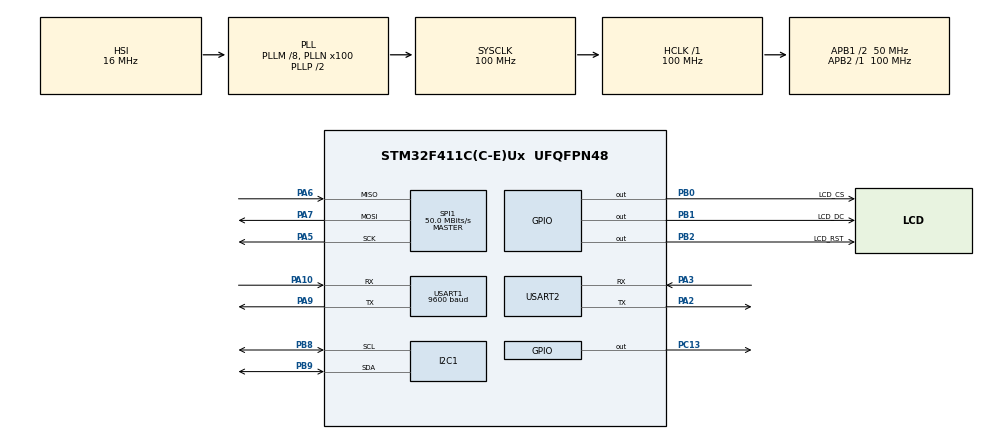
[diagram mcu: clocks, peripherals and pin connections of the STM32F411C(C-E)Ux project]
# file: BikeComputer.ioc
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Mcu.Family=STM32F4
Mcu.Name=STM32F411C(C-E)Ux
Mcu.Package=UFQFPN48
NVIC.PriorityGroup=NVIC_PRIORITYGROUP_4
NVIC.USART1_IRQn=true\:0\:0\:false\:false\:true\:true\:true\:true
PA10.Mode=Asynchronous
PA10.Signal=USART1_RX
PA13.Mode=Serial_Wire
PA13.Signal=SYS_JTMS-SWDIO
PA14.Mode=Serial_Wire
PA14.Signal=SYS_JTCK-SWCLK
PA2.Mode=Asynchronous
PA2.Signal=USART2_TX
PA3.Mode=Asynchronous
PA3.Signal=USART2_RX
PA5.Mode=Full_Duplex_Master
PA5.Signal=SPI1_SCK
PA6.Mode=Full_Duplex_Master
PA6.Signal=SPI1_MISO
PA7.Mode=Full_Duplex_Master
PA7.Signal=SPI1_MOSI
PA9.Mode=Asynchronous
PA9.Signal=USART1_TX
PB0.GPIO_Label=LCD_CS
PB0.Signal=GPIO_Output
PB1.GPIO_Label=LCD_DC
PB1.Signal=GPIO_Output
PB2.GPIO_Label=LCD_RST
PB2.Signal=GPIO_Output
PB8.Mode=I2C
PB8.Signal=I2C1_SCL
PB9.Mode=I2C
PB9.Signal=I2C1_SDA
PC13-ANTI_TAMP.Signal=GPIO_Output
ProjectManager.HeapSize=0x200
ProjectManager.StackSize=0x400
ProjectManager.TargetToolchain=STM32CubeIDE
RCC.48MHZClocksFreq_Value=50000000
RCC.AHBFreq_Value=100000000
RCC.APB1CLKDivider=RCC_HCLK_DIV2
RCC.APB1Freq_Value=50000000
RCC.APB1TimFreq_Value=100000000
RCC.APB2Freq_Value=100000000
RCC.APB2TimFreq_Value=100000000
RCC.CortexFreq_Value=100000000
RCC.HCLKFreq_Value=100000000
RCC.HSE_VALUE=25000000
RCC.HSI_VALUE=16000000
RCC.LSE_VALUE=32768
RCC.PLLM=8
RCC.PLLN=100
RCC.SYSCLKFreq_VALUE=100000000
RCC.SYSCLKSource=RCC_SYSCLKSOURCE_PLLCLK
RCC.VCOOutputFreq_Value=200000000
SPI1.CalculateBaudRate=50.0 MBits/s
SPI1.Direction=SPI_DIRECTION_2LINES
SPI1.Mode=SPI_MODE_MASTER
SPI1.VirtualType=VM_MASTER
USART1.BaudRate=9600
USART1.VirtualMode=VM_ASYNC
USART2.VirtualMode=VM_ASYNC
board=custom

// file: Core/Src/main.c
/* USER CODE BEGIN Header */
/**
  ******************************************************************************
  * @file           : main.c
  * @brief          : Main program body
  ******************************************************************************
  * @attention
  *
  * Copyright (c) 2026 STMicroelectronics.
  * All rights reserved.
  *
  * This software is licensed under terms that can be found in the LICENSE file
  * in the root directory of this software component.
  * If no LICENSE file comes with this software, it is provided AS-IS.
  *
  ******************************************************************************
  */
/* USER CODE END Header */
#include "main.h"

/* USER CODE BEGIN Includes */
#include "bike_data.h"
#include "bmp280.h"
#include "button.h"
#include "gps.h"
#include "ili9341.h"
#include "mpu6050.h"
#include "ride_stats.h"
#include "ui.h"

/* USER CODE END Includes */

/* USER CODE BEGIN PD */
#define NRF_UART_PERIOD_MS      1000U
#define NRF_UART_TX_TIMEOUT_MS  20U
#define NRF_UART_BUFFER_SIZE    128U

/* USER CODE END PD */

I2C_HandleTypeDef hi2c1;

SPI_HandleTypeDef hspi1;

UART_HandleTypeDef huart1;
UART_HandleTypeDef huart2;

/* USER CODE BEGIN PV */
static uint32_t nrf_uart_last_tx_ms = 0U;

/* USER CODE END PV */

void SystemClock_Config(void);
static void MX_GPIO_Init(void);
static void MX_I2C1_Init(void);
static void MX_SPI1_Init(void);
static void MX_USART1_UART_Init(void);
static void MX_USART2_UART_Init(void);
/* USER CODE BEGIN PFP */
static void NRF_UART_SendStartupMessage(void);
static void NRF_UART_Update(void);

/* USER CODE END PFP */

/* USER CODE BEGIN 0 */
static void NRF_UART_AppendChar(char *buffer, uint16_t buffer_size, uint16_t *index, char value)
{
  if (*index < (uint16_t)(buffer_size - 1U))
  {
    buffer[*index] = value;
    (*index)++;
    buffer[*index] = '\0';
  }
}

static void NRF_UART_AppendText(char *buffer, uint16_t buffer_size, uint16_t *index, const char *text)
{
  while (*text != '\0')
  {
    NRF_UART_AppendChar(buffer, buffer_size, index, *text);
    text++;
  }
}

static void NRF_UART_AppendUnsigned(char *buffer, uint16_t buffer_size, uint16_t *index, uint32_t value)
{
  char digits[10];
  uint8_t digit_count = 0U;

  if (value == 0U)
  {
    NRF_UART_AppendChar(buffer, buffer_size, index, '0');
    return;
  }

  while ((value > 0U) && (digit_count < sizeof(digits)))
  {
    digits[digit_count] = (char)('0' + (value % 10U));
    value /= 10U;
    digit_count++;
  }

  while (digit_count > 0U)
  {
    digit_count--;
    NRF_UART_AppendChar(buffer, buffer_size, index, digits[digit_count]);
  }
}

static void NRF_UART_AppendFloat1(char *buffer, uint16_t buffer_size, uint16_t *index, float value)
{
  uint32_t scaled;

  if (value < 0.0f)
  {
    NRF_UART_AppendChar(buffer, buffer_size, index, '-');
    value = -value;
  }

  scaled = (uint32_t)((value * 10.0f) + 0.5f);
  NRF_UART_AppendUnsigned(buffer, buffer_size, index, scaled / 10U);
  NRF_UART_AppendChar(buffer, buffer_size, index, '.');
  NRF_UART_AppendUnsigned(buffer, buffer_size, index, scaled % 10U);
}

static void NRF_UART_SendText(const char *text)
{
  uint16_t length = 0U;

  while (text[length] != '\0')
  {
    length++;
  }

  if (length > 0U)
  {
    (void)HAL_UART_Transmit(&huart2, (uint8_t *)text, length, NRF_UART_TX_TIMEOUT_MS);
  }
}

static void NRF_UART_SendStartupMessage(void)
{
  NRF_UART_SendText("STM32 UART2 Ready\r\n");
  NRF_UART_SendText("TX=PA2 RX=PA3 Baud=115200\r\n");
  nrf_uart_last_tx_ms = HAL_GetTick();
}

static void NRF_UART_Update(void)
{
  char message[NRF_UART_BUFFER_SIZE];
  uint16_t index = 0U;
  uint32_t now = HAL_GetTick();

  if ((now - nrf_uart_last_tx_ms) < NRF_UART_PERIOD_MS)
  {
    return;
  }

  nrf_uart_last_tx_ms = now;
  message[0] = '\0';

  NRF_UART_AppendText(message, sizeof(message), &index, "STM32 DATA speed=");
  NRF_UART_AppendFloat1(message, sizeof(message), &index, BikeData.speed);
  NRF_UART_AppendText(message, sizeof(message), &index, "km/h power=");
  NRF_UART_AppendUnsigned(message, sizeof(message), &index, BikeData.power);
  NRF_UART_AppendText(message, sizeof(message), &index, "W cadence=");
  NRF_UART_AppendUnsigned(message, sizeof(message), &index, BikeData.cadence);
  NRF_UART_AppendText(message, sizeof(message), &index, "rpm hr=");
  NRF_UART_AppendUnsigned(message, sizeof(message), &index, BikeData.heartRate);
  NRF_UART_AppendText(message, sizeof(message), &index, "bpm gpsFix=");
  NRF_UART_AppendUnsigned(message, sizeof(message), &index, BikeData.gpsFix);
  NRF_UART_AppendText(message, sizeof(message), &index, "\r\n");

  NRF_UART_SendText(message);
}

/* USER CODE END 0 */

int main(void)
{

  /* MCU Configuration--------------------------------------------------------*/

  /* Reset of all peripherals, Initializes the Flash interface and the Systick. */
  HAL_Init();

  /* Configure the system clock */
  SystemClock_Config();

  /* Initialize all configured peripherals */
  MX_GPIO_Init();
  MX_I2C1_Init();
  MX_SPI1_Init();
  MX_USART1_UART_Init();
  MX_USART2_UART_Init();
  /* USER CODE BEGIN 2 */
  BikeData_InitDemo();
  ILI9341_Init();
  ILI9341_FillScreen(ILI9341_COLOR_BLACK);
  (void)MPU6050_Init();
  (void)BMP280_Init();
  GPS_Init();
  RideStats_Init();
  UI_ForceRedraw();
  UI_RenderCurrentPage();
  NRF_UART_SendStartupMessage();

  /* USER CODE END 2 */

  /* Infinite loop */
  while (1)
  {

    /* USER CODE BEGIN 3 */
    Button_Update();

    if (UI_GetMode() == PAGE_MODE)
    {
      if (Button_WasPressed(BUTTON_NEXT) != 0U)
      {
        UI_NextPage();
      }

      if (Button_WasPressed(BUTTON_PREV) != 0U)
      {
        UI_PreviousPage();
      }

      if (Button_WasLongPressed(BUTTON_ENTER, 1000U) != 0U)
      {
        UI_EnterMenu();
      }
    }
    else
    {
      if (Button_WasPressed(BUTTON_NEXT) != 0U)
      {
        UI_MenuNext();
      }

      if (Button_WasPressed(BUTTON_PREV) != 0U)
      {
        UI_MenuPrev();
      }

      if (Button_WasPressed(BUTTON_ENTER) != 0U)
      {
        UI_MenuSelect();
      }
    }

    (void)MPU6050_UpdateBikeData();
    (void)BMP280_UpdateBikeData();
    GPS_Update();
    RideStats_Update();
    NRF_UART_Update();
    UI_RenderCurrentPage();
  }
  /* USER CODE END 3 */
}

void SystemClock_Config(void)
{
  RCC_OscInitTypeDef RCC_OscInitStruct = {0};
  RCC_ClkInitTypeDef RCC_ClkInitStruct = {0};

  /** Configure the main internal regulator output voltage
  */
  __HAL_RCC_PWR_CLK_ENABLE();
  __HAL_PWR_VOLTAGESCALING_CONFIG(PWR_REGULATOR_VOLTAGE_SCALE1);

  /** Initializes the RCC Oscillators according to the specified parameters
  * in the RCC_OscInitTypeDef structure.
  */
  RCC_OscInitStruct.OscillatorType = RCC_OSCILLATORTYPE_HSI;
  RCC_OscInitStruct.HSIState = RCC_HSI_ON;
  RCC_OscInitStruct.HSICalibrationValue = RCC_HSICALIBRATION_DEFAULT;
  RCC_OscInitStruct.PLL.PLLState = RCC_PLL_ON;
  RCC_OscInitStruct.PLL.PLLSource = RCC_PLLSOURCE_HSI;
  RCC_OscInitStruct.PLL.PLLM = 8;
  RCC_OscInitStruct.PLL.PLLN = 100;
  RCC_OscInitStruct.PLL.PLLP = RCC_PLLP_DIV2;
  RCC_OscInitStruct.PLL.PLLQ = 4;
  if (HAL_RCC_OscConfig(&RCC_OscInitStruct) != HAL_OK)
  {
    Error_Handler();
  }

  /** Initializes the CPU, AHB and APB buses clocks
  */
  RCC_ClkInitStruct.ClockType = RCC_CLOCKTYPE_HCLK|RCC_CLOCKTYPE_SYSCLK
                              |RCC_CLOCKTYPE_PCLK1|RCC_CLOCKTYPE_PCLK2;
  RCC_ClkInitStruct.SYSCLKSource = RCC_SYSCLKSOURCE_PLLCLK;
  RCC_ClkInitStruct.AHBCLKDivider = RCC_SYSCLK_DIV1;
  RCC_ClkInitStruct.APB1CLKDivider = RCC_HCLK_DIV2;
  RCC_ClkInitStruct.APB2CLKDivider = RCC_HCLK_DIV1;

  if (HAL_RCC_ClockConfig(&RCC_ClkInitStruct, FLASH_LATENCY_3) != HAL_OK)
  {
    Error_Handler();
  }
}

static void MX_I2C1_Init(void)
{

  hi2c1.Instance = I2C1;
  hi2c1.Init.ClockSpeed = 100000;
  hi2c1.Init.DutyCycle = I2C_DUTYCYCLE_2;
  hi2c1.Init.OwnAddress1 = 0;
  hi2c1.Init.AddressingMode = I2C_ADDRESSINGMODE_7BIT;
  hi2c1.Init.DualAddressMode = I2C_DUALADDRESS_DISABLE;
  hi2c1.Init.OwnAddress2 = 0;
  hi2c1.Init.GeneralCallMode = I2C_GENERALCALL_DISABLE;
  hi2c1.Init.NoStretchMode = I2C_NOSTRETCH_DISABLE;
  if (HAL_I2C_Init(&hi2c1) != HAL_OK)
  {
    Error_Handler();
  }

}

static void MX_SPI1_Init(void)
{

  /* SPI1 parameter configuration*/
  hspi1.Instance = SPI1;
  hspi1.Init.Mode = SPI_MODE_MASTER;
  hspi1.Init.Direction = SPI_DIRECTION_2LINES;
  hspi1.Init.DataSize = SPI_DATASIZE_8BIT;
  hspi1.Init.CLKPolarity = SPI_POLARITY_LOW;
  hspi1.Init.CLKPhase = SPI_PHASE_1EDGE;
  hspi1.Init.NSS = SPI_NSS_SOFT;
  hspi1.Init.BaudRatePrescaler = SPI_BAUDRATEPRESCALER_2;
  hspi1.Init.FirstBit = SPI_FIRSTBIT_MSB;
  hspi1.Init.TIMode = SPI_TIMODE_DISABLE;
  hspi1.Init.CRCCalculation = SPI_CRCCALCULATION_DISABLE;
  hspi1.Init.CRCPolynomial = 10;
  if (HAL_SPI_Init(&hspi1) != HAL_OK)
  {
    Error_Handler();
  }

}

static void MX_USART1_UART_Init(void)
{

  huart1.Instance = USART1;
  huart1.Init.BaudRate = 9600;
  huart1.Init.WordLength = UART_WORDLENGTH_8B;
  huart1.Init.StopBits = UART_STOPBITS_1;
  huart1.Init.Parity = UART_PARITY_NONE;
  huart1.Init.Mode = UART_MODE_TX_RX;
  huart1.Init.HwFlowCtl = UART_HWCONTROL_NONE;
  huart1.Init.OverSampling = UART_OVERSAMPLING_16;
  if (HAL_UART_Init(&huart1) != HAL_OK)
  {
    Error_Handler();
  }

}

static void MX_USART2_UART_Init(void)
{

  huart2.Instance = USART2;
  huart2.Init.BaudRate = 115200;
  huart2.Init.WordLength = UART_WORDLENGTH_8B;
  huart2.Init.StopBits = UART_STOPBITS_1;
  huart2.Init.Parity = UART_PARITY_NONE;
  huart2.Init.Mode = UART_MODE_TX_RX;
  huart2.Init.HwFlowCtl = UART_HWCONTROL_NONE;
  huart2.Init.OverSampling = UART_OVERSAMPLING_16;
  if (HAL_UART_Init(&huart2) != HAL_OK)
  {
    Error_Handler();
  }

}

static void MX_GPIO_Init(void)
{
  GPIO_InitTypeDef GPIO_InitStruct = {0};

  /* GPIO Ports Clock Enable */
  __HAL_RCC_GPIOC_CLK_ENABLE();
  __HAL_RCC_GPIOA_CLK_ENABLE();
  __HAL_RCC_GPIOB_CLK_ENABLE();

  /*Configure GPIO pin Output Level */
  HAL_GPIO_WritePin(GPIOC, GPIO_PIN_13, GPIO_PIN_RESET);

  /*Configure GPIO pin Output Level */
  HAL_GPIO_WritePin(GPIOB, LCD_CS_Pin|LCD_DC_Pin|LCD_RST_Pin, GPIO_PIN_RESET);

  /*Configure GPIO pin : PC13 */
  GPIO_InitStruct.Pin = GPIO_PIN_13;
  GPIO_InitStruct.Mode = GPIO_MODE_OUTPUT_PP;
  GPIO_InitStruct.Pull = GPIO_NOPULL;
  GPIO_InitStruct.Speed = GPIO_SPEED_FREQ_LOW;
  HAL_GPIO_Init(GPIOC, &GPIO_InitStruct);

  /*Configure GPIO pins : LCD_CS_Pin LCD_DC_Pin LCD_RST_Pin */
  GPIO_InitStruct.Pin = LCD_CS_Pin|LCD_DC_Pin|LCD_RST_Pin;
  GPIO_InitStruct.Mode = GPIO_MODE_OUTPUT_PP;
  GPIO_InitStruct.Pull = GPIO_NOPULL;
  GPIO_InitStruct.Speed = GPIO_SPEED_FREQ_LOW;
  HAL_GPIO_Init(GPIOB, &GPIO_InitStruct);

  /* USER CODE BEGIN MX_GPIO_Init_2 */
  GPIO_InitStruct.Pin = BTN_NEXT_Pin|BTN_PREV_Pin|BTN_ENTER_Pin;
  GPIO_InitStruct.Mode = GPIO_MODE_IT_FALLING;
  GPIO_InitStruct.Pull = GPIO_PULLUP;
  HAL_GPIO_Init(GPIOB, &GPIO_InitStruct);

  HAL_NVIC_SetPriority(EXTI15_10_IRQn, 2, 0);
  HAL_NVIC_EnableIRQ(EXTI15_10_IRQn);

  /* USER CODE END MX_GPIO_Init_2 */
}

/* USER CODE BEGIN 4 */
void HAL_GPIO_EXTI_Callback(uint16_t GPIO_Pin)
{
  Button_EXTI_Callback(GPIO_Pin);
}

/* USER CODE END 4 */

void Error_Handler(void)
{
  __disable_irq();
  while (1)
  {
  }
}
